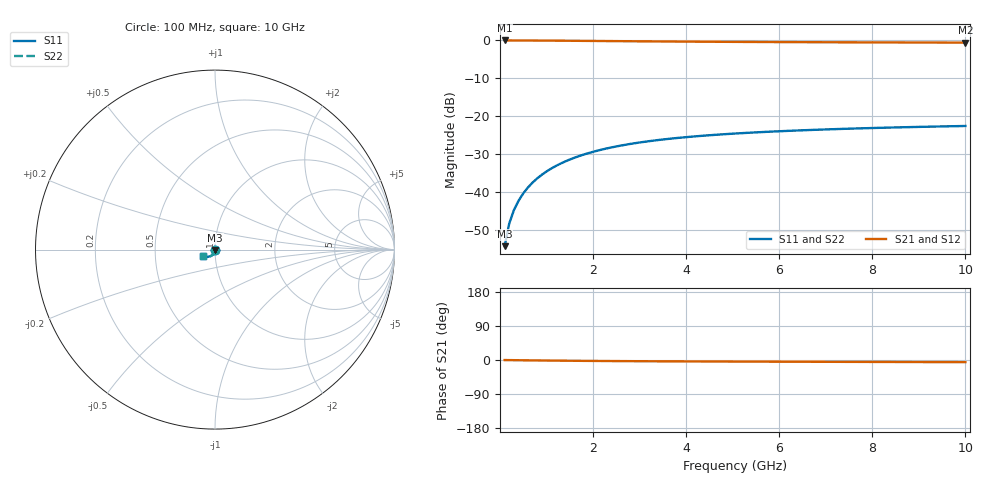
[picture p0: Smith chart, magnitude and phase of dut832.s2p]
! Touchstone file exported from HFSS 2024.1.0
!  File:  C:/UserFiles/LocalFiles/RDL_TSV_Batchsim/temp_TSV1_832_1779879365.aedt
!  Generated:  07:00:14 PM May 27, 2026
!  Design:  TSV1
!  Project:  temp_TSV1_832_1779879365
!  Setup:  Setup1
!  Solution:  Sweep
! Variables:
!  dtsv = 13.8um
!  hbump = 3um
!  htsv = 84.84um
!  lrdl = 252.1521522um
!  p = 40
!  p1 = 41.54um
!  t = 500um
!  trdl = 3um
!  wrdl = 24.89489489um
# GHz S MA R 50.000000
! Terminal data exported
! Port[1] = TSV22_T1
! Port[2] = TSV22_T2
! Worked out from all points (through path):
!   100 points, 100 MHz to 10 GHz, reference 50 ohm
!   highest |S21| = 0.00 dB at 100 MHz (marker M1); lowest = -0.6 dB at 10 GHz (marker M2)
!   lowest |S11| = -54.3 dB at 100 MHz (marker M3), VSWR 1.00, Z = 50 - j0.192 ohm
!   |S11| at or under -10 dB: start of sweep to end of sweep
!   |S22| runs from -54.3 to -22.6 dB; largest |S21 - S12| = 4.4e-15
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0.1  0.001919 -88.7  0.9999 -0.1  0.9999 -0.1  0.001919 -88.7
! Gamma 0 0 0 0
! Port Impedance 50 0 50 0
0.2  0.003835 -91.7  0.9997 -0.3  0.9997 -0.3  0.003835 -91.7
0.3  0.005748 -93.7  0.9994 -0.4  0.9994 -0.4  0.005748 -93.7
0.4  0.007653 -95.3  0.9991 -0.6  0.9991 -0.6  0.007653 -95.3
0.5  0.009542 -96.9  0.9987 -0.7  0.9987 -0.7  0.009542 -96.9
0.6  0.01141 -98.4  0.9981 -0.9  0.9981 -0.9  0.01141 -98.4
0.7  0.01325 -99.9  0.9975 -1.0  0.9975 -1.0  0.01325 -99.9
0.8  0.01507 -101.3  0.9968 -1.1  0.9968 -1.1  0.01507 -101.3
0.9  0.01685 -102.7  0.9961 -1.3  0.9961 -1.3  0.01685 -102.7
1.1  0.02031 -105.4  0.9944 -1.5  0.9944 -1.5  0.02031 -105.4
1.4  0.0252 -109.2  0.9915 -1.9  0.9915 -1.9  0.0252 -109.2
1.6  0.02824 -111.6  0.9894 -2.1  0.9894 -2.1  0.02824 -111.6
1.8  0.03112 -113.9  0.9873 -2.3  0.9873 -2.3  0.03112 -113.9
2.1  0.0351 -117.1  0.984 -2.5  0.984 -2.5  0.0351 -117.1
2.5  0.03983 -121.0  0.9797 -2.8  0.9797 -2.8  0.03983 -121.0
2.9  0.04396 -124.4  0.9755 -3.1  0.9755 -3.1  0.04396 -124.4
3.4  0.04839 -128.1  0.9707 -3.4  0.9707 -3.4  0.04839 -128.1
4.2  0.05414 -133.0  0.9638 -3.8  0.9638 -3.8  0.05414 -133.0
5.1  0.05919 -137.3  0.9573 -4.1  0.9573 -4.1  0.05919 -137.3
6.7  0.06579 -142.9  0.9483 -4.7  0.9483 -4.7  0.06579 -142.9
8.4  0.07075 -147.1  0.9416 -5.2  0.9416 -5.2  0.07075 -147.1
10  0.07419 -150.1  0.9369 -5.7  0.9369 -5.7  0.07419 -150.1
